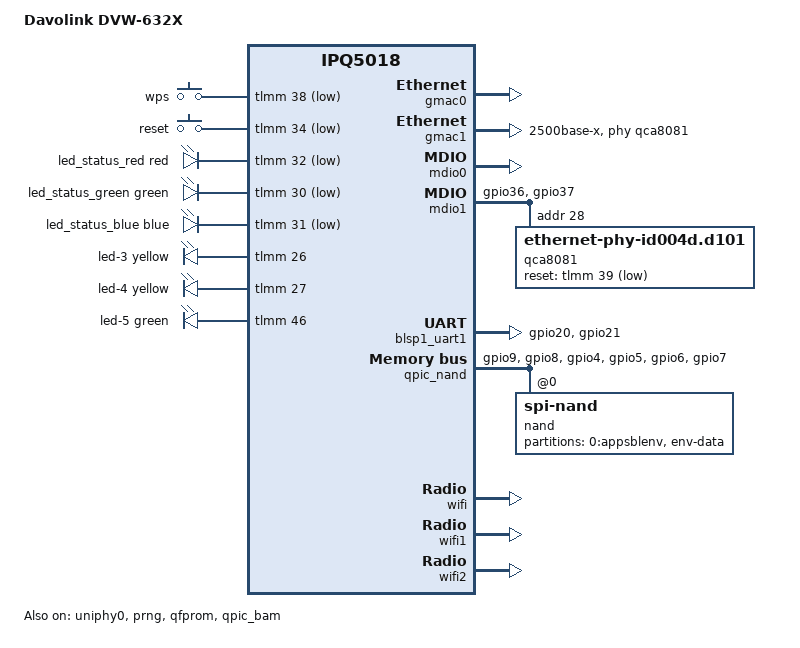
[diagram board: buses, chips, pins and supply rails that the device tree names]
// SPDX-License-Identifier: GPL-2.0-or-later OR MIT
/*
 * Copyright (c) 2026, Christopher Spankroy <christopherspankroy@gmail.com>
 */

/dts-v1/;

#include "ipq5018.dtsi"
#include "ipq5018-ess.dtsi"
#include "ipq5018-qcn6122.dtsi"

#include <dt-bindings/gpio/gpio.h>
#include <dt-bindings/input/input.h>
#include <dt-bindings/leds/common.h>

/ {
	model = "Davolink DVW-632X";
	compatible = "davolink,dvw-632x", "qcom,ipq5018";

	aliases {
		serial0 = &blsp1_uart1;
		label-mac-device = &gmac1;
		led-boot = &led_status_red;
		led-failsafe = &led_status_red;
		led-running = &led_status_green;
		led-upgrade = &led_status_blue;
	};

	chosen {
		bootargs-append = " root=/dev/ubiblock0_1 swiotlb=1 coherent_pool=2M";
		stdout-path = "serial0:115200n8";
	};

	keys {
		compatible = "gpio-keys";
		pinctrl-0 = <&button_pins>;
		pinctrl-names = "default";

		wps {
			label = "wps";
			gpios = <&tlmm 38 GPIO_ACTIVE_LOW>;
			linux,code = <KEY_WPS_BUTTON>;
			debounce-interval = <60>;
		};

		reset {
			label = "reset";
			gpios = <&tlmm 34 GPIO_ACTIVE_LOW>;
			linux,code = <KEY_RESTART>;
			debounce-interval = <60>;
		};
	};

	leds {
		compatible = "gpio-leds";
		pinctrl-0 = <&led_pins>;
		pinctrl-names = "default";

		led_status_red: led-0 {
			color = <LED_COLOR_ID_RED>;
			function = LED_FUNCTION_STATUS;
			gpios = <&tlmm 32 GPIO_ACTIVE_LOW>;
		};

		led_status_green: led-1 {
			color = <LED_COLOR_ID_GREEN>;
			function = LED_FUNCTION_STATUS;
			gpios = <&tlmm 30 GPIO_ACTIVE_LOW>;
		};

		led_status_blue: led-2 {
			color = <LED_COLOR_ID_BLUE>;
			function = LED_FUNCTION_STATUS;
			gpios = <&tlmm 31 GPIO_ACTIVE_LOW>;
		};

		led-3 {
			color = <LED_COLOR_ID_YELLOW>;
			function = LED_FUNCTION_WAN;
			gpios = <&tlmm 26 GPIO_ACTIVE_HIGH>;
		};

		led-4 {
			color = <LED_COLOR_ID_YELLOW>;
			function = LED_FUNCTION_LAN;
			gpios = <&tlmm 27 GPIO_ACTIVE_HIGH>;
		};

		led-5 {
			color = <LED_COLOR_ID_GREEN>;
			function = LED_FUNCTION_ACTIVITY;
			gpios = <&tlmm 46 GPIO_ACTIVE_HIGH>;
		};
	};
};

&uniphy0 {
	status = "okay";

	assigned-clocks = <&uniphy0 UNIPHY_CLK_REF>;
	assigned-clock-rates = <UNIPHY_REFCLK_50MHZ>;
};

// MAC0 -> GE Phy
&gmac0 {
	status = "okay";

	label = "lan";

	nvmem-cells = <&macaddr_appsblenv_ethaddr 2>;
	nvmem-cell-names = "mac-address";
};

// MAC1 --- SGMII+ ---> QCA8081
&gmac1 {
	status = "okay";

	phy-handle = <&qca8081>;
	phy-mode = "2500base-x";

	label = "wan";

	nvmem-cells = <&macaddr_appsblenv_ethaddr 0>;
	nvmem-cell-names = "mac-address";
};

&mdio0 {
	status = "okay";
};

&mdio1 {
	status = "okay";

	pinctrl-0 = <&mdio1_pins>;
	pinctrl-names = "default";

	qca8081: ethernet-phy@28 {
		compatible = "ethernet-phy-id004d.d101";
		reg = <28>;
		reset-deassert-us = <10000>;
		reset-gpios = <&tlmm 39 GPIO_ACTIVE_LOW>;
	};
};

&sleep_clk {
	clock-frequency = <32000>;
};

&xo_board_clk {
	clock-div = <4>;
	clock-mult = <1>;
};

&blsp1_uart1 {
	status = "okay";
	pinctrl-0 = <&serial_0_pins>;
	pinctrl-names = "default";
};

&prng {
	status = "okay";
};

&qfprom {
	status = "okay";
};

&qpic_bam {
	status = "okay";
};

&qpic_nand {
	pinctrl-0 = <&qpic_pins>;
	pinctrl-names = "default";
	status = "okay";

	nand@0 {
		compatible = "spi-nand";
		reg = <0>;
		nand-ecc-engine = <&qpic_nand>;
		nand-ecc-strength = <8>;
		nand-ecc-step-size = <512>;
		nand-bus-width = <8>;

		partitions {
			compatible = "qcom,smem-part";

			partition-0-appsblenv {
				compatible = "fixed-partitions";
				label = "0:appsblenv";
				#address-cells = <1>;
				#size-cells = <1>;

				partition@0 {
					label = "env-data";
					reg = <0x0 0x40000>;

					nvmem-layout {
						compatible = "u-boot,env";

						macaddr_appsblenv_ethaddr: ethaddr {
							compatible = "mac-base";
							#nvmem-cell-cells = <1>;
						};
					};
				};
			};
		};
	};
};

&tlmm {
	button_pins: button-state {
		pins = "gpio34", "gpio38";
		function = "gpio";
		drive-strength = <8>;
		bias-pull-up;
	};

	led_pins: led-state {
		status-pins {
			pins = "gpio30", "gpio31", "gpio32";
			function = "gpio";
			drive-strength = <8>;
			bias-disable;
		};

		port-pins {
			pins = "gpio26", "gpio27", "gpio46";
			function = "gpio";
			drive-strength = <8>;
			bias-pull-down;
		};
	};

	mdio1_pins: mdio-state {
		mdc-pins {
			pins = "gpio36";
			function = "mdc";
			drive-strength = <8>;
			bias-pull-up;
		};

		mdio-pins {
			pins = "gpio37";
			function = "mdio";
			drive-strength = <8>;
			bias-pull-up;
		};
	};

	qpic_pins: qpic-state {
		clock-pins {
			pins = "gpio9";
			function = "qspi_clk";
			drive-strength = <8>;
			bias-disable;
		};

		cs-pins {
			pins = "gpio8";
			function = "qspi_cs";
			drive-strength = <8>;
			bias-disable;
		};

		data-pins {
			pins = "gpio4", "gpio5", "gpio6", "gpio7";
			function = "qspi_data";
			drive-strength = <8>;
			bias-disable;
		};
	};

	serial_0_pins: uart0-state {
		pins = "gpio20", "gpio21";
		function = "blsp0_uart0";
		drive-strength = <8>;
		bias-disable;
	};
};

&q6_region {
	reg = <0x0 0x4b000000 0x0 0x4d00000>;
};

&wifi {
	status = "okay";

	qcom,rproc = <&q6_wcss_pd1>;
	qcom,ath11k-calibration-variant = "Davolink-DVW-632X";
	qcom,ath11k-fw-memory-mode = <1>;
	qcom,bdf-addr = <0x4c400000>;
};

&wifi1 {
	status = "okay";

	qcom,rproc = <&q6_wcss_pd2>;
	qcom,userpd-subsys-name = "q6v5_wcss_userpd2";
	qcom,ath11k-calibration-variant = "Davolink-DVW-632X-5G";
	qcom,ath11k-fw-memory-mode = <1>;
	qcom,m3-dump-addr = <0x4df00000>;
};

&wifi2 {
	status = "okay";

	qcom,rproc = <&q6_wcss_pd3>;
	qcom,userpd-subsys-name = "q6v5_wcss_userpd3";
	qcom,ath11k-calibration-variant = "Davolink-DVW-632X-6G";
	qcom,ath11k-fw-memory-mode = <1>;
	qcom,bdf-addr = <0x4e500000>;
	qcom,m3-dump-addr = <0x4f200000>;
};
